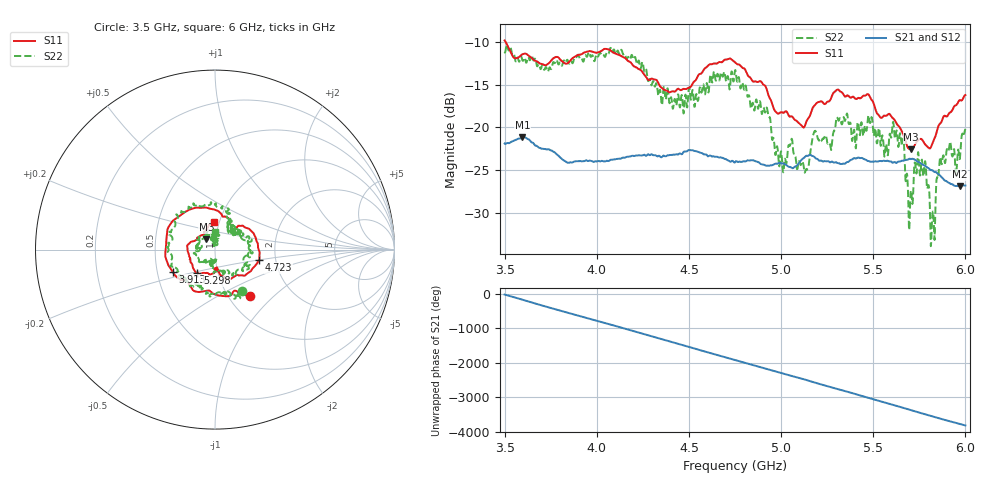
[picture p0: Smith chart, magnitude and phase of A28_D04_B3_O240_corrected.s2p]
! Created with skrf 1.9.0 (http://scikit-rf.org).
# Hz S RI R 50.0
!freq ReS11 ImS11 ReS21 ImS21 ReS12 ImS12 ReS22 ImS22
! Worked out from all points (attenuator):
!   1601 points, 3.5 GHz to 6 GHz, reference 50 ohm
!   highest |S21| = -21.18 dB at 3.597 GHz (marker M1); lowest = -26.9 dB at 5.97 GHz (marker M2)
!   lowest |S11| = -22.6 dB at 5.706 GHz (marker M3), VSWR 1.16, Z = 45.1 + j5.13 ohm
!   |S11| at or under -10 dB: 3.505 GHz to end of sweep
!   |S22| runs from -33.9 to -10.3 dB; largest |S21 - S12| = 0.0011
!   S11 on the Smith chart (normalised r, x): 3.5 GHz: 1.25, -0.72; 3.913 GHz: 0.60, -0.16; 4.723 GHz: 1.64, -0.20; 5.298 GHz: 0.80, -0.22; 6 GHz: 0.94, +0.30
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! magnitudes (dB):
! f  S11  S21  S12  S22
! 3.5 GHz  -9.8  -21.9  -21.9  -11.2
! 3.597 GHz  -11.4  -21.2  -21.1  -12.2
! 3.913 GHz  -11.5  -24.0  -23.9  -11.9
! 3.917 GHz  -11.5  -24.0  -23.9  -11.9
! 4.141 GHz  -11.8  -23.6  -23.5  -11.4
! 4.334 GHz  -14.8  -23.4  -23.3  -16.3
! 4.723 GHz  -11.9  -24.0  -23.9  -15.2
! 4.75 GHz  -12.4  -24.1  -24.0  -13.4
! 4.93 GHz  -16.1  -24.5  -24.4  -18.5
! 5.002 GHz  -18.3  -24.2  -24.2  -23.0
! 5.138 GHz  -19.3  -23.3  -23.3  -25.0
! 5.167 GHz  -17.9  -23.3  -23.3  -21.7
! 5.298 GHz  -15.7  -24.1  -24.0  -19.2
! 5.584 GHz  -18.4  -24.0  -23.9  -21.8
! 5.655 GHz  -20.5  -23.9  -23.9  -22.2
! 5.706 GHz  -22.6  -23.7  -23.6  -27.4
! 5.734 GHz  -21.7  -23.9  -23.8  -25.4
! 5.773 GHz  -21.7  -24.4  -24.3  -25.7
! 5.823 GHz  -21.8  -25.1  -25.0  -29.9
! 5.869 GHz  -19.4  -25.8  -25.7  -24.2
! 5.97 GHz  -16.8  -26.9  -26.9  -23.7
! 6 GHz  -16.2  -26.8  -26.7  -20.2
